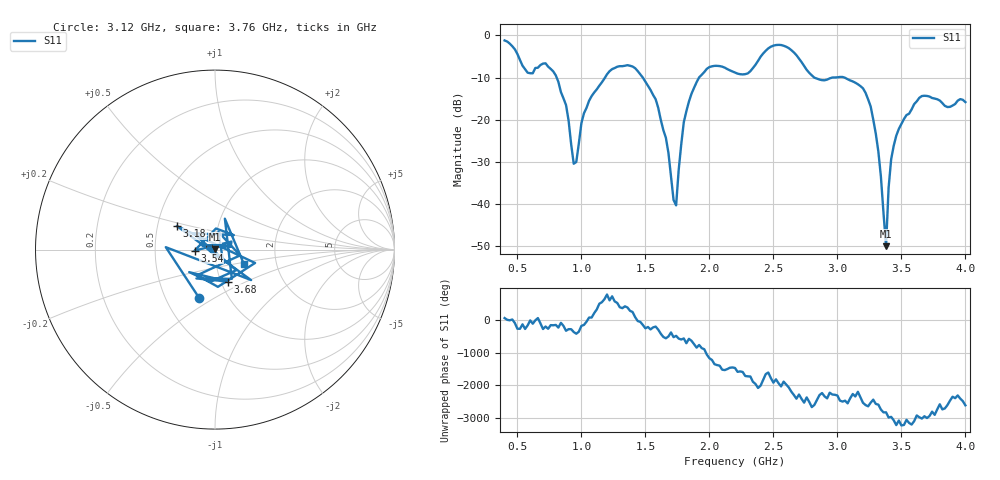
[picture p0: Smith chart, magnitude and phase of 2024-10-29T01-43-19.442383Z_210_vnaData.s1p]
!Created with skrf (http://scikit-rf.org).
# Hz S RI R 50.0
!freq ReS11 ImS11
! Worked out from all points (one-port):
!   181 points, 400 MHz to 4 GHz, reference 50 ohm
!   lowest |S11| = -50.0 dB at 3.38 GHz (marker M1), VSWR 1.01, Z = 50.2 + j0.249 ohm
!   |S11| at or under -10 dB: 806.6 MHz to 1.185 GHz (378.1 MHz wide, 38 % of centre); 1.48 GHz to 1.919 GHz (439.6 MHz wide, 25.9 % of centre); 3.053 GHz to end of sweep (the widest 3 of 4)
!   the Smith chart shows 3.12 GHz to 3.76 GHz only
!   S11 on the Smith chart (normalised r, x): 3.12 GHz: 0.73, -0.43; 3.18 GHz: 0.63, +0.18; 3.54 GHz: 0.80, -0.01; 3.68 GHz: 1.08, -0.40; 3.76 GHz: 1.36, -0.22
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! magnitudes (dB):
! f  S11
! 400 MHz  -1.2
! 580 MHz  -8.9
! 720 MHz  -6.6
! 860 MHz  -14.9
! 940 MHz  -30.4
! 1.06 GHz  -15.5
! 1.3 GHz  -7.3
! 1.58 GHz  -15.1
! 1.66 GHz  -24.3
! 1.74 GHz  -40.3
! 1.76 GHz  -31.9
! 1.8 GHz  -20.6
! 1.92 GHz  -10.0
! 2.2 GHz  -8.8
! 2.66 GHz  -4.0
! 2.82 GHz  -10.0
! 3.1 GHz  -10.7
! 3.12 GHz  -10.9
! 3.18 GHz  -12.0
! 3.3 GHz  -23.3
! 3.38 GHz  -50.0
! 3.4 GHz  -36.1
! 3.42 GHz  -29.4
! 3.54 GHz  -18.9
! 3.56 GHz  -18.6
! 3.68 GHz  -14.3
! 3.76 GHz  -15.0
! 4 GHz  -15.8
